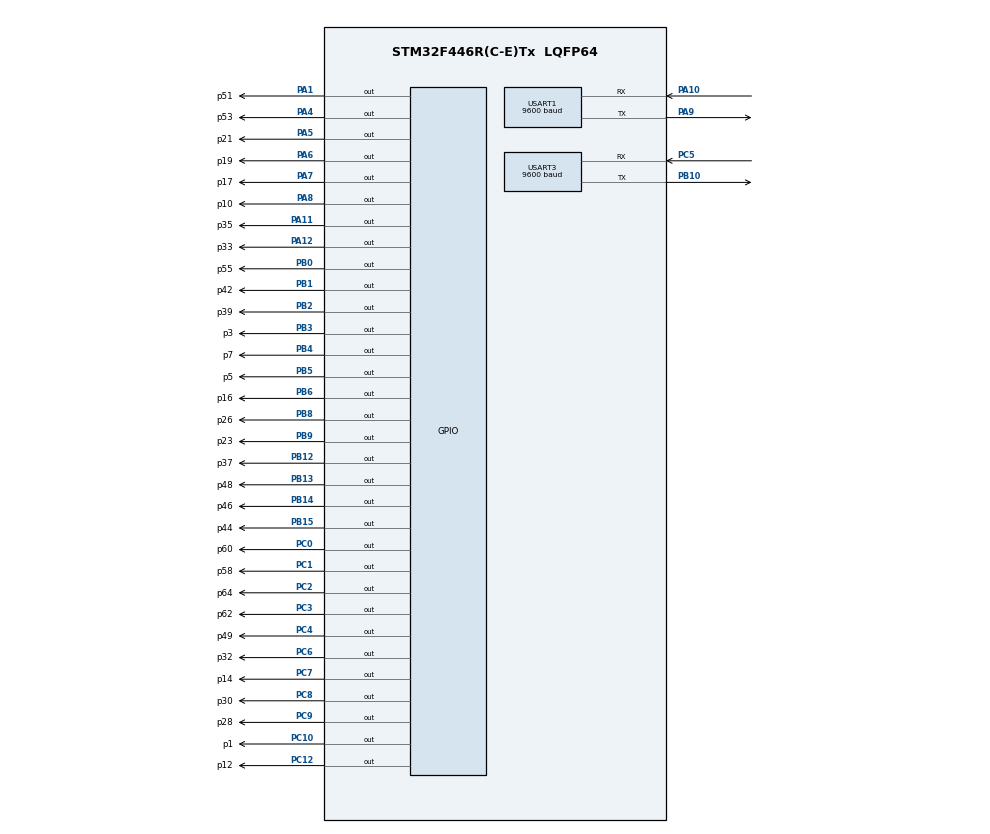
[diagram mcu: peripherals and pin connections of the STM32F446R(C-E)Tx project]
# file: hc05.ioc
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Dma.Request0=USART3_RX
Dma.Request1=USART3_TX
Dma.Request2=USART1_RX
Dma.Request3=USART1_TX
Dma.USART1_RX.2.Direction=DMA_PERIPH_TO_MEMORY
Dma.USART1_RX.2.FIFOMode=DMA_FIFOMODE_DISABLE
Dma.USART1_RX.2.Instance=DMA2_Stream2
Dma.USART1_RX.2.MemDataAlignment=DMA_MDATAALIGN_BYTE
Dma.USART1_RX.2.MemInc=DMA_MINC_ENABLE
Dma.USART1_RX.2.Mode=DMA_CIRCULAR
Dma.USART1_RX.2.PeriphDataAlignment=DMA_PDATAALIGN_BYTE
Dma.USART1_RX.2.PeriphInc=DMA_PINC_DISABLE
Dma.USART1_RX.2.Priority=DMA_PRIORITY_LOW
Dma.USART1_TX.3.Direction=DMA_MEMORY_TO_PERIPH
Dma.USART1_TX.3.FIFOMode=DMA_FIFOMODE_DISABLE
Dma.USART1_TX.3.Instance=DMA2_Stream7
Dma.USART1_TX.3.MemDataAlignment=DMA_MDATAALIGN_BYTE
Dma.USART1_TX.3.MemInc=DMA_MINC_ENABLE
Dma.USART1_TX.3.Mode=DMA_CIRCULAR
Dma.USART1_TX.3.PeriphDataAlignment=DMA_PDATAALIGN_BYTE
Dma.USART1_TX.3.PeriphInc=DMA_PINC_DISABLE
Dma.USART1_TX.3.Priority=DMA_PRIORITY_LOW
Dma.USART3_RX.0.Direction=DMA_PERIPH_TO_MEMORY
Dma.USART3_RX.0.FIFOMode=DMA_FIFOMODE_DISABLE
Dma.USART3_RX.0.Instance=DMA1_Stream1
Dma.USART3_RX.0.MemDataAlignment=DMA_MDATAALIGN_BYTE
Dma.USART3_RX.0.MemInc=DMA_MINC_ENABLE
Dma.USART3_RX.0.Mode=DMA_CIRCULAR
Dma.USART3_RX.0.PeriphDataAlignment=DMA_PDATAALIGN_BYTE
Dma.USART3_RX.0.PeriphInc=DMA_PINC_DISABLE
Dma.USART3_RX.0.Priority=DMA_PRIORITY_LOW
Dma.USART3_TX.1.Direction=DMA_MEMORY_TO_PERIPH
Dma.USART3_TX.1.FIFOMode=DMA_FIFOMODE_DISABLE
Dma.USART3_TX.1.Instance=DMA1_Stream3
Dma.USART3_TX.1.MemDataAlignment=DMA_MDATAALIGN_BYTE
Dma.USART3_TX.1.MemInc=DMA_MINC_ENABLE
Dma.USART3_TX.1.Mode=DMA_CIRCULAR
Dma.USART3_TX.1.PeriphDataAlignment=DMA_PDATAALIGN_BYTE
Dma.USART3_TX.1.PeriphInc=DMA_PINC_DISABLE
Dma.USART3_TX.1.Priority=DMA_PRIORITY_LOW
Mcu.Family=STM32F4
Mcu.Name=STM32F446R(C-E)Tx
Mcu.Package=LQFP64
NVIC.DMA1_Stream1_IRQn=true\:0\:0\:false\:false\:true\:false\:true
NVIC.DMA1_Stream3_IRQn=true\:0\:0\:false\:false\:true\:false\:true
NVIC.DMA2_Stream2_IRQn=true\:0\:0\:false\:false\:true\:false\:true
NVIC.DMA2_Stream7_IRQn=true\:0\:0\:false\:false\:true\:false\:true
NVIC.PriorityGroup=NVIC_PRIORITYGROUP_4
NVIC.USART1_IRQn=true\:0\:0\:false\:false\:true\:true\:true
NVIC.USART3_IRQn=true\:0\:0\:false\:false\:true\:true\:true
PA1.GPIO_Label=p51
PA1.Signal=GPIO_Output
PA10.Mode=Asynchronous
PA10.Signal=USART1_RX
PA11.GPIO_Label=p35
PA11.Signal=GPIO_Output
PA12.GPIO_Label=p33
PA12.Signal=GPIO_Output
PA13.Mode=Serial_Wire
PA13.Signal=SYS_JTMS-SWDIO
PA14.Mode=Serial_Wire
PA14.Signal=SYS_JTCK-SWCLK
PA4.GPIO_Label=p53
PA4.Signal=GPIO_Output
PA5.GPIO_Label=p21
PA5.Signal=GPIO_Output
PA6.GPIO_Label=p19
PA6.Signal=GPIO_Output
PA7.GPIO_Label=p17
PA7.Signal=GPIO_Output
PA8.GPIO_Label=p10
PA8.Signal=GPIO_Output
PA9.Mode=Asynchronous
PA9.Signal=USART1_TX
PB0.GPIO_Label=p55
PB0.Signal=GPIO_Output
PB1.GPIO_Label=p42
PB1.Signal=GPIO_Output
PB10.Mode=Asynchronous
PB10.Signal=USART3_TX
PB12.GPIO_Label=p37
PB12.Signal=GPIO_Output
PB13.GPIO_Label=p48
PB13.Signal=GPIO_Output
PB14.GPIO_Label=p46
PB14.Signal=GPIO_Output
PB15.GPIO_Label=p44
PB15.Signal=GPIO_Output
PB2.GPIO_Label=p39
PB2.Signal=GPIO_Output
PB3.GPIO_Label=p3
PB3.Signal=GPIO_Output
PB4.GPIO_Label=p7
PB4.Signal=GPIO_Output
PB5.GPIO_Label=p5
PB5.Signal=GPIO_Output
PB6.GPIO_Label=p16
PB6.Signal=GPIO_Output
PB8.GPIO_Label=p26
PB8.Signal=GPIO_Output
PB9.GPIO_Label=p23
PB9.Signal=GPIO_Output
PC0.GPIO_Label=p60
PC0.Signal=GPIO_Output
PC1.GPIO_Label=p58
PC1.Signal=GPIO_Output
PC10.GPIO_Label=p1
PC10.Signal=GPIO_Output
PC12.GPIO_Label=p12
PC12.Signal=GPIO_Output
PC2.GPIO_Label=p64
PC2.Signal=GPIO_Output
PC3.GPIO_Label=p62
PC3.Signal=GPIO_Output
PC4.GPIO_Label=p49
PC4.Signal=GPIO_Output
PC5.Mode=Asynchronous
PC5.Signal=USART3_RX
PC6.GPIO_Label=p32
PC6.Signal=GPIO_Output
PC7.GPIO_Label=p14
PC7.Signal=GPIO_Output
PC8.GPIO_Label=p30
PC8.Signal=GPIO_Output
PC9.GPIO_Label=p28
PC9.Signal=GPIO_Output
PH0-OSC_IN.Mode=HSE-External-Oscillator
PH0-OSC_IN.Signal=RCC_OSC_IN
PH1-OSC_OUT.Mode=HSE-External-Oscillator
PH1-OSC_OUT.Signal=RCC_OSC_OUT
ProjectManager.HeapSize=0x200
ProjectManager.StackSize=0x400
ProjectManager.TargetToolchain=MDK-ARM V5.27
RCC.CortexFreq_Value=16000000
RCC.USBFreq_Value=96000000
RCC.VCOOutputFreq_Value=192000000
USART1.BaudRate=9600
USART1.VirtualMode=VM_ASYNC
USART3.BaudRate=9600
USART3.VirtualMode=VM_ASYNC
board=custom

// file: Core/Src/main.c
/* USER CODE BEGIN Header */
/**
  ******************************************************************************
  * @file           : main.c
  * @brief          : Main program body
  ******************************************************************************
  * @attention
  *
  * <h2><center>&copy; Copyright (c) 2020 STMicroelectronics.
  * All rights reserved.</center></h2>
  *
  * This software component is licensed by ST under BSD 3-Clause license,
  * the "License"; You may not use this file except in compliance with the
  * License. You may obtain a copy of the License at:
  *                        opensource.org/licenses/BSD-3-Clause
  *
  ******************************************************************************
  */
/* USER CODE END Header */
#include "main.h"
#include "LED_control.h"

UART_HandleTypeDef huart1;
UART_HandleTypeDef huart3;
DMA_HandleTypeDef hdma_usart1_rx;
DMA_HandleTypeDef hdma_usart1_tx;
DMA_HandleTypeDef hdma_usart3_rx;
DMA_HandleTypeDef hdma_usart3_tx;

void SystemClock_Config(void);
static void MX_GPIO_Init(void);
static void MX_DMA_Init(void);
static void MX_USART3_UART_Init(void);
static void MX_USART1_UART_Init(void);

/* USER CODE BEGIN 0 */

uint8_t oldVal, newVal, average,state,count=0;
int8_t difference;
/* USER CODE END 0 */

int main(void)
{

  /* MCU Configuration--------------------------------------------------------*/

  /* Reset of all peripherals, Initializes the Flash interface and the Systick. */
  HAL_Init();

  /* Configure the system clock */
  SystemClock_Config();

  /* Initialize all configured peripherals */
  MX_GPIO_Init();
  MX_DMA_Init();
  MX_USART3_UART_Init();
  MX_USART1_UART_Init();
  /* USER CODE BEGIN 2 */
	ledInit();
	HAL_UART_Receive_DMA(&huart1,&newVal,1);
	HAL_UART_Receive_DMA(&huart3,&newVal,1);

  /* USER CODE END 2 */

  /* Infinite loop */
  while (1)
  {

    /* USER CODE BEGIN 3 */

		if (newVal > 0) {                																		// If a new LED value is received
						oldVal = newVal;       																		 	// Store old LED value
						state = checkState(newVal); 																// Check which color was selected
						while (1) {              																		// Blink until new move is received
								if (state == 1){
										redBlink(oldVal);
								}
								else if (state == 0){
										blueBlink(oldVal);
								}
								else {
										ledOff(oldVal); 																 		// In case turned off LED was chosen
										break;
								}
								if (newVal != oldVal){  																// Check if a new value is received
										ledOff(oldVal);           						 							// Turn off old LED

										if (state == 1){																		// Check which LED color was chosen to move
												redOn(newVal);           												// Turn on new red LED
										}
										else if (state == 0){																// Check which LED color was chosen to move
												blueOn(newVal);          												// Turn on new blue LED
										}

										difference = oldVal - newVal;          							// Calculate difference in positions
										if (difference > 9 || difference < -9) {						// Check if opponent's piece was hit
												average = (oldVal + newVal) / 2;
												ledOff(average);
										}

										break;                    													// Exit blinking loop
								}
								count++;
								if ((count++) == 20) {                            			// Stop blinking after 20 cycles
										break;
								}
						}
						newVal = 0;  																								// Reset value to wait for next turn
				}

  }
  /* USER CODE END 3 */
}

void SystemClock_Config(void)
{
  RCC_OscInitTypeDef RCC_OscInitStruct = {0};
  RCC_ClkInitTypeDef RCC_ClkInitStruct = {0};

  /** Configure the main internal regulator output voltage
  */
  __HAL_RCC_PWR_CLK_ENABLE();
  __HAL_PWR_VOLTAGESCALING_CONFIG(PWR_REGULATOR_VOLTAGE_SCALE3);
  /** Initializes the RCC Oscillators according to the specified parameters
  * in the RCC_OscInitTypeDef structure.
  */
  RCC_OscInitStruct.OscillatorType = RCC_OSCILLATORTYPE_HSI;
  RCC_OscInitStruct.HSIState = RCC_HSI_ON;
  RCC_OscInitStruct.HSICalibrationValue = RCC_HSICALIBRATION_DEFAULT;
  RCC_OscInitStruct.PLL.PLLState = RCC_PLL_NONE;
  if (HAL_RCC_OscConfig(&RCC_OscInitStruct) != HAL_OK)
  {
    Error_Handler();
  }
  /** Initializes the CPU, AHB and APB buses clocks
  */
  RCC_ClkInitStruct.ClockType = RCC_CLOCKTYPE_HCLK|RCC_CLOCKTYPE_SYSCLK
                              |RCC_CLOCKTYPE_PCLK1|RCC_CLOCKTYPE_PCLK2;
  RCC_ClkInitStruct.SYSCLKSource = RCC_SYSCLKSOURCE_HSI;
  RCC_ClkInitStruct.AHBCLKDivider = RCC_SYSCLK_DIV1;
  RCC_ClkInitStruct.APB1CLKDivider = RCC_HCLK_DIV1;
  RCC_ClkInitStruct.APB2CLKDivider = RCC_HCLK_DIV1;

  if (HAL_RCC_ClockConfig(&RCC_ClkInitStruct, FLASH_LATENCY_0) != HAL_OK)
  {
    Error_Handler();
  }
}

static void MX_USART1_UART_Init(void)
{

  huart1.Instance = USART1;
  huart1.Init.BaudRate = 9600;
  huart1.Init.WordLength = UART_WORDLENGTH_8B;
  huart1.Init.StopBits = UART_STOPBITS_1;
  huart1.Init.Parity = UART_PARITY_NONE;
  huart1.Init.Mode = UART_MODE_TX_RX;
  huart1.Init.HwFlowCtl = UART_HWCONTROL_NONE;
  huart1.Init.OverSampling = UART_OVERSAMPLING_16;
  if (HAL_UART_Init(&huart1) != HAL_OK)
  {
    Error_Handler();
  }

}

static void MX_USART3_UART_Init(void)
{

  huart3.Instance = USART3;
  huart3.Init.BaudRate = 9600;
  huart3.Init.WordLength = UART_WORDLENGTH_8B;
  huart3.Init.StopBits = UART_STOPBITS_1;
  huart3.Init.Parity = UART_PARITY_NONE;
  huart3.Init.Mode = UART_MODE_TX_RX;
  huart3.Init.HwFlowCtl = UART_HWCONTROL_NONE;
  huart3.Init.OverSampling = UART_OVERSAMPLING_16;
  if (HAL_UART_Init(&huart3) != HAL_OK)
  {
    Error_Handler();
  }

}

static void MX_DMA_Init(void)
{

  /* DMA controller clock enable */
  __HAL_RCC_DMA1_CLK_ENABLE();
  __HAL_RCC_DMA2_CLK_ENABLE();

  /* DMA interrupt init */
  /* DMA1_Stream1_IRQn interrupt configuration */
  HAL_NVIC_SetPriority(DMA1_Stream1_IRQn, 0, 0);
  HAL_NVIC_EnableIRQ(DMA1_Stream1_IRQn);
  /* DMA1_Stream3_IRQn interrupt configuration */
  HAL_NVIC_SetPriority(DMA1_Stream3_IRQn, 0, 0);
  HAL_NVIC_EnableIRQ(DMA1_Stream3_IRQn);
  /* DMA2_Stream2_IRQn interrupt configuration */
  HAL_NVIC_SetPriority(DMA2_Stream2_IRQn, 0, 0);
  HAL_NVIC_EnableIRQ(DMA2_Stream2_IRQn);
  /* DMA2_Stream7_IRQn interrupt configuration */
  HAL_NVIC_SetPriority(DMA2_Stream7_IRQn, 0, 0);
  HAL_NVIC_EnableIRQ(DMA2_Stream7_IRQn);

}

static void MX_GPIO_Init(void)
{
  GPIO_InitTypeDef GPIO_InitStruct = {0};

  /* GPIO Ports Clock Enable */
  __HAL_RCC_GPIOH_CLK_ENABLE();
  __HAL_RCC_GPIOC_CLK_ENABLE();
  __HAL_RCC_GPIOA_CLK_ENABLE();
  __HAL_RCC_GPIOB_CLK_ENABLE();

  /*Configure GPIO pin Output Level */
  HAL_GPIO_WritePin(GPIOC, p60_Pin|p58_Pin|p64_Pin|p62_Pin
                          |p49_Pin|p32_Pin|p14_Pin|p30_Pin
                          |p28_Pin|p1_Pin|p12_Pin, GPIO_PIN_RESET);

  /*Configure GPIO pin Output Level */
  HAL_GPIO_WritePin(GPIOA, p51_Pin|p53_Pin|p21_Pin|p19_Pin
                          |p17_Pin|p10_Pin|p35_Pin|p33_Pin, GPIO_PIN_RESET);

  /*Configure GPIO pin Output Level */
  HAL_GPIO_WritePin(GPIOB, p55_Pin|p42_Pin|p39_Pin|p37_Pin
                          |p48_Pin|p46_Pin|p44_Pin|p3_Pin
                          |p7_Pin|p5_Pin|p16_Pin|p26_Pin
                          |p23_Pin, GPIO_PIN_RESET);

  /*Configure GPIO pins : p60_Pin p58_Pin p64_Pin p62_Pin
                           p49_Pin p32_Pin p14_Pin p30_Pin
                           p28_Pin p1_Pin p12_Pin */
  GPIO_InitStruct.Pin = p60_Pin|p58_Pin|p64_Pin|p62_Pin
                          |p49_Pin|p32_Pin|p14_Pin|p30_Pin
                          |p28_Pin|p1_Pin|p12_Pin;
  GPIO_InitStruct.Mode = GPIO_MODE_OUTPUT_PP;
  GPIO_InitStruct.Pull = GPIO_NOPULL;
  GPIO_InitStruct.Speed = GPIO_SPEED_FREQ_LOW;
  HAL_GPIO_Init(GPIOC, &GPIO_InitStruct);

  /*Configure GPIO pins : p51_Pin p53_Pin p21_Pin p19_Pin
                           p17_Pin p10_Pin p35_Pin p33_Pin */
  GPIO_InitStruct.Pin = p51_Pin|p53_Pin|p21_Pin|p19_Pin
                          |p17_Pin|p10_Pin|p35_Pin|p33_Pin;
  GPIO_InitStruct.Mode = GPIO_MODE_OUTPUT_PP;
  GPIO_InitStruct.Pull = GPIO_NOPULL;
  GPIO_InitStruct.Speed = GPIO_SPEED_FREQ_LOW;
  HAL_GPIO_Init(GPIOA, &GPIO_InitStruct);

  /*Configure GPIO pins : p55_Pin p42_Pin p39_Pin p37_Pin
                           p48_Pin p46_Pin p44_Pin p3_Pin
                           p7_Pin p5_Pin p16_Pin p26_Pin
                           p23_Pin */
  GPIO_InitStruct.Pin = p55_Pin|p42_Pin|p39_Pin|p37_Pin
                          |p48_Pin|p46_Pin|p44_Pin|p3_Pin
                          |p7_Pin|p5_Pin|p16_Pin|p26_Pin
                          |p23_Pin;
  GPIO_InitStruct.Mode = GPIO_MODE_OUTPUT_PP;
  GPIO_InitStruct.Pull = GPIO_NOPULL;
  GPIO_InitStruct.Speed = GPIO_SPEED_FREQ_LOW;
  HAL_GPIO_Init(GPIOB, &GPIO_InitStruct);

}

/* USER CODE BEGIN 4 */
void HAL_UART_RxCpltCallback(UART_HandleTypeDef *huart)
{
  /* Prevent unused argument(s) compilation warning */
  UNUSED(huart);
  /* NOTE: This function should not be modified, when the callback is needed,
           the HAL_UART_TxCpltCallback could be implemented in the user file
   */
//	HAL_Delay(1);
//	HAL_UART_Transmit(&huart3, buf1, 1, 10);
//	rx=0;
//	buf1[0]=12;
}
/* USER CODE END 4 */

void Error_Handler(void)
{
  __disable_irq();
  while (1)
  {
  }
}

/************************ (C) COPYRIGHT STMicroelectronics *****END OF FILE****/
